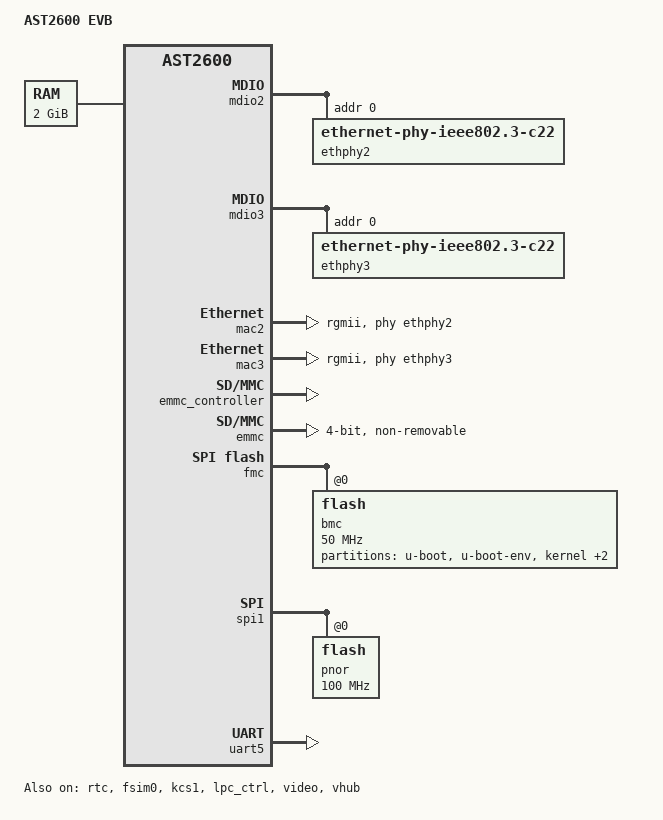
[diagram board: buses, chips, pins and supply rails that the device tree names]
// SPDX-License-Identifier: GPL-2.0-or-later
// Copyright 2019 IBM Corp.

/dts-v1/;

#include "aspeed-g6.dtsi"
#include <dt-bindings/gpio/aspeed-gpio.h>
#include "devicetree-config.dtsi"

/ {
	model = "AST2600 EVB";
	compatible = "aspeed,ast2600";

	aliases {
		serial4 = &uart5;
	};

	chosen {
		bootargs = "console=ttyS4,115200n8";
	};

	memory@80000000 {
		device_type = "memory";
		reg = <0x80000000 0x80000000>;
	};

	reserved-memory {
		#address-cells = <1>;
		#size-cells = <1>;
		ranges;

		gfx_memory: framebuffer {
			size = <0x01000000>;
			alignment = <0x01000000>;
			compatible = "shared-dma-pool";
			reusable;
		};

		flash_memory: region@9e4f0000 {
			no-map;
			reg = <0x9e4f0000 0x00010000>; /* 64K */
		};

		video_engine_memory: video {
			no-map;
			reg = <0x9d1f0000 0x01300000>; /* 19MB */
		};
	};
};

&mdio2 {
	status = "okay";

	ethphy2: ethernet-phy@0 {
		compatible = "ethernet-phy-ieee802.3-c22";
		reg = <0>;
	};
};

&mdio3 {
	status = "okay";

	ethphy3: ethernet-phy@0 {
		compatible = "ethernet-phy-ieee802.3-c22";
		reg = <0>;
	};
};

&mac2 {
	status = "okay";

	phy-mode = "rgmii";
	phy-handle = <&ethphy2>;

	pinctrl-names = "default";
	pinctrl-0 = <&pinctrl_rgmii3_default>;
};

&mac3 {
	status = "okay";

	phy-mode = "rgmii";
	phy-handle = <&ethphy3>;

	pinctrl-names = "default";
	pinctrl-0 = <&pinctrl_rgmii4_default>;
};

&emmc_controller {
	status = "okay";
};

&emmc {
	non-removable;
	bus-width = <4>;
	max-frequency = <52000000>;
};

&rtc {
	status = "okay";
};

&fmc {
	status = "okay";
	flash@0 {
		status = "okay";
		m25p,fast-read;
		label = "bmc";
		spi-max-frequency = <50000000>;

		partitions {
			compatible = "fixed-partitions";
			#address-cells = <1>;
			#size-cells = <1>;

			u-boot@0 {
				reg = <0x0 0x100000>; // 1MB
				label = "u-boot";
			};

			u-boot-env@100000 {
				reg = <0x100000 0x20000>; // 128KB
				label = "u-boot-env";
			};

			kernel@200000 {
				reg = <0x200000 0x800000>;
				label = "kernel";
			};

			rofs@a00000 {
				reg = <0xa00000 0x2e00000>;
				label = "rofs";
			};

			rwfs@3800000 {
				reg = <0x3800000 0x800000>;
				label = "rwfs";
			};
		};
	};
};

&spi1 {
	status = "okay";
	pinctrl-names = "default";
	pinctrl-0 = <&pinctrl_spi1_default>;

	flash@0 {
		status = "okay";
		m25p,fast-read;
		label = "pnor";
		spi-max-frequency = <100000000>;
	};
};

&uart5 {
	status = "okay";
};

&fsim0 {
	status = "okay";
};

&kcs1 {
        kcs_addr = <0xCA8>;
        status = "okay";
};

&pinctrl {
        pinctrl-names = "default";
        pinctrl-0 = <&pinctrl_lpc_default>;
};

&lpc_ctrl {
	status = "okay";
	memory-region = <&flash_memory>;
	flash = <&spi1>;
};

&sio_regs {
	serial_mux {
		offset = <0x1c>;
		bit-mask = <0xffffffff>;
		bit-shift = <0>;
	};
};

&video {
	compatible = "aspeed,ast2600-video";
	status = "okay";
	memory-region = <&video_engine_memory>;
};

&vhub {
	compatible = "aspeed,ast2600-usb-vhub";
	status = "okay";
};
